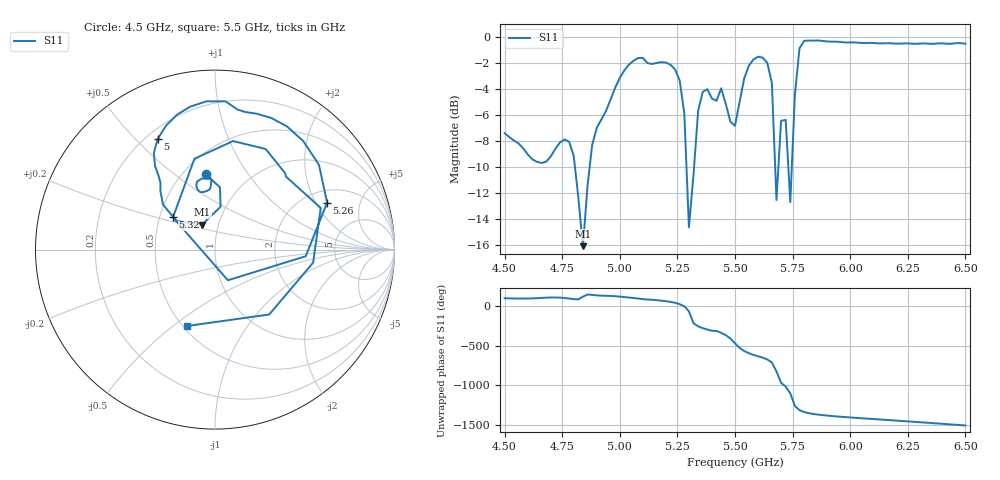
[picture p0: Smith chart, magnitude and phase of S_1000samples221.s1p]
! TOUCHSTONE file generated by CST MICROWAVE STUDIO
! Date and time: Thu Oct 27 10:25:52 2022
! Project name: L.cst
! Parameters = {Di=1.27; Epsilon_r=1.56; InnerDiameter=1.27; Length=2; Lf=10; Lg=60; OuterConductorThickness=0.2921; OuterDiameter=3.6; Wf=3; Wp=41.2; de=1.5; df=6.8; g=0.8; gx=0.925387; gy=0.626114; h=2.34; hf=1.524; px=14.349; py=14.9823; w=9.7; wx=13.4236; wy=14.3562}
! Header version: 2018
! Port assignment regex: !\s*Touchstone port\s*([0-9]+)\s*=\s*(CST MWS port|CST DS port)\s*([0-9]+|Zmin|Zmax)\s*\(\"(.*)\"\)(\s*mode\s*([0-9]+))?.*
! Touchstone port assignment:
! Touchstone port 1 = CST MWS port 1 ("")
# GHz S DB R 50
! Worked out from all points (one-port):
!   101 points, 4.5 GHz to 6.5 GHz, reference 50 ohm
!   lowest |S11| = -16.1 dB at 4.84 GHz (marker M1), VSWR 1.37, Z = 41.8 + j12 ohm
!   |S11| at or under -10 dB: 4.805 GHz to 4.869 GHz (64.09 MHz wide, 1.33 % of centre); 5.289 GHz to 5.322 GHz (33.07 MHz wide, 0.623 % of centre); 5.674325 GHz to 5.688389 GHz (14.06 MHz wide, 0.248 % of centre) (the widest 3 of 4)
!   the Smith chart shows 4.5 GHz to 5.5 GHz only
!   S11 on the Smith chart (normalised r, x): 4.5 GHz: 0.64, +0.66; 5 GHz: 0.24, +0.58; 5.26 GHz: 2.59, +2.50; 5.32 GHz: 0.59, +0.23; 5.5 GHz: 0.52, -0.56
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4.5  -7.42 96.7
4.76  -7.90 100.4
4.84  -16.10 117.0
4.88  -8.33 139.1
5  -3.17 117.4
5.18  -1.96 66.7
5.26  -3.39 22.7
5.3  -14.64 -67.3
5.32  -10.60 142.5
5.36  -4.25 80.6
5.44  -3.97 21.5
5.48  -6.54 -50.1
5.5  -6.85 -110.4
5.54  -3.21 152.8
5.6  -1.54 86.8
5.64  -2.02 47.0
5.66  -3.56 9.3
5.68  -12.55 -104.8
5.7  -6.47 113.0
5.72  -6.40 64.6
5.74  -12.71 -20.3
5.76  -4.47 -179.3
5.78  -0.90 128.7
5.8  -0.33 105.2
5.86  -0.30 72.9
6  -0.45 36.9
6.26  -0.54 -14.5
6.5  -0.55 -63.8
